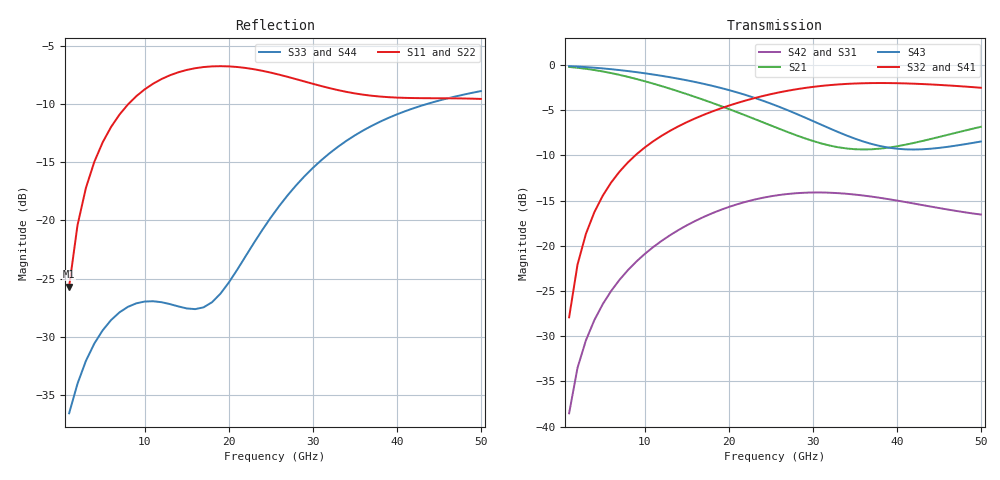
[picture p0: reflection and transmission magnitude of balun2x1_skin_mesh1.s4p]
! Created with skrf 2.2.0 (http://scikit-rf.org).
# GHz S DB R 50.0
! Port[1] = P1
! Port[2] = P2
! Port[3] = P3
! Port[4] = P4
!freq dBS11 angS11 dBS12 angS12 dBS13 angS13
! dBS14 angS14
! dBS21 angS21 dBS22 angS22 dBS23 angS23
! dBS24 angS24
! dBS31 angS31 dBS32 angS32 dBS33 angS33
! dBS34 angS34
! dBS41 angS41 dBS42 angS42 dBS43 angS43
! dBS44 angS44
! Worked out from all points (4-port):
!   50 points, 1 GHz to 50 GHz, reference 50 ohm
!   strongest paths, dB at 1 GHz, 13 GHz, 26 GHz, 38 GHz, 50 GHz:
!     S32: -27.9, -7.3, -3.0, -2.0, -2.5
!     S41: -27.9, -7.3, -3.0, -2.0, -2.6
!     S43: -0.1, -1.3, -4.6, -9.0, -8.5
!     S21: -0.2, -2.6, -7.1, -9.3, -6.8
!     S42: -38.5, -18.8, -14.4, -14.7, -16.5
!     S31: -38.5, -18.9, -14.5, -14.9, -16.7
!   lowest |S11| = -25.7 dB at 1 GHz (marker M1), VSWR 1.11, Z = 52.2 + j4.82 ohm
!   |S11| at or under -10 dB: start of sweep to 8.037 GHz
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1  -25.69 62.3  -0.21 -5.3  -38.54 -109.2  -27.91 84.3
   -0.21 -5.3  -25.69 62.2  -27.92 84.3  -38.54 -109.3
   -38.54 -109.2  -27.92 84.3  -36.58 25.8  -0.13 -2.6
   -27.91 84.3  -38.54 -109.3  -0.13 -2.6  -36.58 25.8
4  -14.96 60.8  -0.55 -19.9  -28.23 -134.6  -16.28 73.3
   -0.55 -19.9  -14.97 60.6  -16.29 73.3  -28.23 -134.8
   -28.23 -134.6  -16.29 73.3  -30.58 32.8  -0.30 -9.8
   -16.28 73.3  -28.23 -134.8  -0.30 -9.8  -30.54 32.8
9  -9.31 39.8  -1.54 -42.6  -21.77 -175.2  -9.89 56.0
   -1.54 -42.6  -9.32 39.4  -9.89 55.9  -21.75 -175.7
   -21.77 -175.2  -9.89 55.9  -27.12 7.4  -0.79 -20.9
   -9.89 56.0  -21.75 -175.7  -0.79 -20.9  -27.12 7.0
18  -6.75 6.0  -4.18 -82.0  -16.48 120.4  -5.15 29.1
    -4.18 -82.0  -6.78 5.1  -5.15 29.1  -16.41 119.5
    -16.48 120.4  -5.15 29.1  -27.03 -93.2  -2.29 -38.8
    -5.15 29.1  -16.41 119.5  -2.29 -38.8  -26.90 -94.3
28  -7.85 -18.6  -7.76 -136.7  -14.32 61.8  -2.70 0.7
    -7.76 -136.7  -7.98 -20.0  -2.69 0.6  -14.18 60.3
    -14.32 61.8  -2.69 0.6  -16.99 167.7  -5.38 -53.1
    -2.70 0.7  -14.18 60.3  -5.38 -53.1  -16.82 167.5
37  -9.28 -25.4  -9.32 158.2  -14.75 21.8  -2.03 -24.2
    -9.32 158.2  -9.56 -26.6  -2.00 -24.5  -14.56 19.5
    -14.75 21.8  -2.00 -24.5  -11.87 125.1  -8.74 -48.1
    -2.03 -24.2  -14.56 19.5  -8.74 -48.1  -11.71 124.8
50  -9.55 -35.3  -6.83 89.2  -16.70 -9.3  -2.55 -53.8
    -6.83 89.2  -9.88 -35.8  -2.51 -54.3  -16.54 -13.4
    -16.70 -9.3  -2.51 -54.3  -8.88 87.5  -8.46 -29.8
    -2.55 -53.8  -16.54 -13.4  -8.46 -29.8  -8.72 86.9
